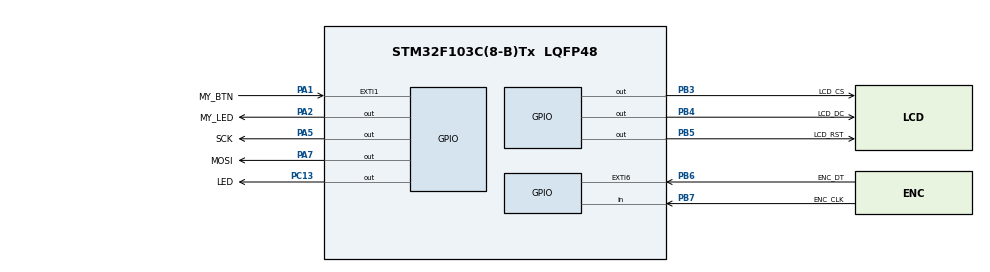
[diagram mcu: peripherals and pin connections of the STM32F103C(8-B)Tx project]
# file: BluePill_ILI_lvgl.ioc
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Mcu.Family=STM32F1
Mcu.Name=STM32F103C(8-B)Tx
Mcu.Package=LQFP48
NVIC.EXTI1_IRQn=true\:0\:0\:false\:false\:true\:true\:true
NVIC.EXTI9_5_IRQn=true\:0\:0\:false\:false\:true\:true\:true
NVIC.PriorityGroup=NVIC_PRIORITYGROUP_4
PA1.GPIO_Label=MY_BTN
PA1.GPIO_ModeDefaultEXTI=GPIO_MODE_IT_RISING_FALLING
PA1.GPIO_PuPd=GPIO_PULLUP
PA1.Signal=GPXTI1
PA13.Mode=Serial_Wire
PA13.Signal=SYS_JTMS-SWDIO
PA14.Mode=Serial_Wire
PA14.Signal=SYS_JTCK-SWCLK
PA2.GPIO_Label=MY_LED
PA2.Signal=GPIO_Output
PA5.GPIO_Label=SCK
PA5.Signal=GPIO_Output
PA7.GPIO_Label=MOSI
PA7.Signal=GPIO_Output
PB3.GPIO_Label=LCD_CS
PB3.Signal=GPIO_Output
PB4.GPIO_Label=LCD_DC
PB4.Signal=GPIO_Output
PB5.GPIO_Label=LCD_RST
PB5.Signal=GPIO_Output
PB6.GPIO_Label=ENC_DT
PB6.Signal=GPXTI6
PB7.GPIO_Label=ENC_CLK
PB7.Signal=GPIO_Input
PC13-TAMPER-RTC.GPIO_Label=LED
PC13-TAMPER-RTC.Signal=GPIO_Output
PD0-OSC_IN.Mode=HSE-External-Oscillator
PD0-OSC_IN.Signal=RCC_OSC_IN
PD1-OSC_OUT.Mode=HSE-External-Oscillator
PD1-OSC_OUT.Signal=RCC_OSC_OUT
ProjectManager.HeapSize=0x200
ProjectManager.StackSize=0x400
ProjectManager.TargetToolchain=Makefile
RCC.AHBFreq_Value=72000000
RCC.APB1CLKDivider=RCC_HCLK_DIV2
RCC.APB1Freq_Value=36000000
RCC.APB1TimFreq_Value=72000000
RCC.APB2Freq_Value=72000000
RCC.APB2TimFreq_Value=72000000
RCC.HCLKFreq_Value=72000000
RCC.PLLMUL=RCC_PLL_MUL9
RCC.PLLSourceVirtual=RCC_PLLSOURCE_HSE
RCC.RTCClockSelection=RCC_RTCCLKSOURCE_LSE
RCC.SYSCLKFreq_VALUE=72000000
RCC.SYSCLKSource=RCC_SYSCLKSOURCE_PLLCLK
RCC.USBFreq_Value=48000000
RCC.USBPrescaler=RCC_USBCLKSOURCE_PLL_DIV1_5
board=custom

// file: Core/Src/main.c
/* USER CODE BEGIN Header */
/**
  ******************************************************************************
  * @file           : main.c
  * @brief          : Main program body
  ******************************************************************************
  * @attention
  *
  * <h2><center>&copy; Copyright (c) 2020 STMicroelectronics.
  * All rights reserved.</center></h2>
  *
  * This software component is licensed by ST under Ultimate Liberty license
  * SLA0044, the "License"; You may not use this file except in compliance with
  * the License. You may obtain a copy of the License at:
  *                             www.st.com/SLA0044
  *
  ******************************************************************************
  */
/* USER CODE END Header */
#include "main.h"
#include "gpio.h"

/* USER CODE BEGIN Includes */
#include "ILI9341.h"

#define USE_LVGL 1
#ifdef USE_LVGL
#include "lvgl/lvgl.h"
#include "lvgl_GUI.h"
#include "lvgl_init_f103.h"
#endif

#include "stm32_tick.h"
#include "exti_encoder.h"

#define LOW 0
#define HI  1

/* USER CODE END Includes */

void SystemClock_Config(void);
/* USER CODE BEGIN PFP */

#include "stdlib.h"
uint16_t random_int(int min, int max)
{
  return (uint16_t)rand() % max + min;
}

/* USER CODE END PFP */

int main(void)
{
  /* USER CODE BEGIN 1 */
#ifdef SEMIHOSTING_ENABLE
  initialise_monitor_handles();
#endif
  /* USER CODE END 1 */

  /* MCU Configuration--------------------------------------------------------*/

  /* Reset of all peripherals, Initializes the Flash interface and the Systick. */

  LL_APB2_GRP1_EnableClock(LL_APB2_GRP1_PERIPH_AFIO);
  LL_APB1_GRP1_EnableClock(LL_APB1_GRP1_PERIPH_PWR);

  NVIC_SetPriorityGrouping(NVIC_PRIORITYGROUP_4);

  /* System interrupt init*/

  /** NOJTAG: JTAG-DP Disabled and SW-DP Enabled
  */
  LL_GPIO_AF_Remap_SWJ_NOJTAG();

  /* Configure the system clock */
  SystemClock_Config();

  /* USER CODE BEGIN SysInit */
  ticks_init();
  /* USER CODE END SysInit */

  /* Initialize all configured peripherals */
  MX_GPIO_Init();
  /* USER CODE BEGIN 2 */
  /*---------Timer Encoder-------------*/
  EXTI_GPIO_Init(); // HAL_TIM_Encoder_Start_IT(&htim4, TIM_CHANNEL_ALL);

#ifndef USE_LVGL
  ILI9341_Init();
    ILI9341_Set_Rotation(SCREEN_HORIZONTAL_2);
    //ILI9341_Set_Rotation(SCREEN_VERTICAL_1);
    ILI9341_Fill_Screen(RED);

#else
	  lv_init();
	  lv_lcd_init();
	  lv_encoder_init();
	  lvgl_GUI();

#endif
  /* USER CODE END 2 */

  /* Infinite loop */
  /* USER CODE BEGIN WHILE */
  while (1)
  {
    lv_task_handler();
    delay_ms(10);
    /* USER CODE END WHILE */

  }
}

void SystemClock_Config(void)
{
  LL_FLASH_SetLatency(LL_FLASH_LATENCY_2);
  while(LL_FLASH_GetLatency()!= LL_FLASH_LATENCY_2)
  {
  }
  LL_RCC_HSE_Enable();

   /* Wait till HSE is ready */
  while(LL_RCC_HSE_IsReady() != 1)
  {

  }
  LL_RCC_PLL_ConfigDomain_SYS(LL_RCC_PLLSOURCE_HSE_DIV_1, LL_RCC_PLL_MUL_9);
  LL_RCC_PLL_Enable();

   /* Wait till PLL is ready */
  while(LL_RCC_PLL_IsReady() != 1)
  {

  }
  LL_RCC_SetAHBPrescaler(LL_RCC_SYSCLK_DIV_1);
  LL_RCC_SetAPB1Prescaler(LL_RCC_APB1_DIV_2);
  LL_RCC_SetAPB2Prescaler(LL_RCC_APB2_DIV_1);
  LL_RCC_SetSysClkSource(LL_RCC_SYS_CLKSOURCE_PLL);

   /* Wait till System clock is ready */
  while(LL_RCC_GetSysClkSource() != LL_RCC_SYS_CLKSOURCE_STATUS_PLL)
  {

  }
  LL_Init1msTick(72000000);
  LL_SetSystemCoreClock(72000000);
}

void Error_Handler(void)
{
  __disable_irq();
  while (1)
  {
  }
}
